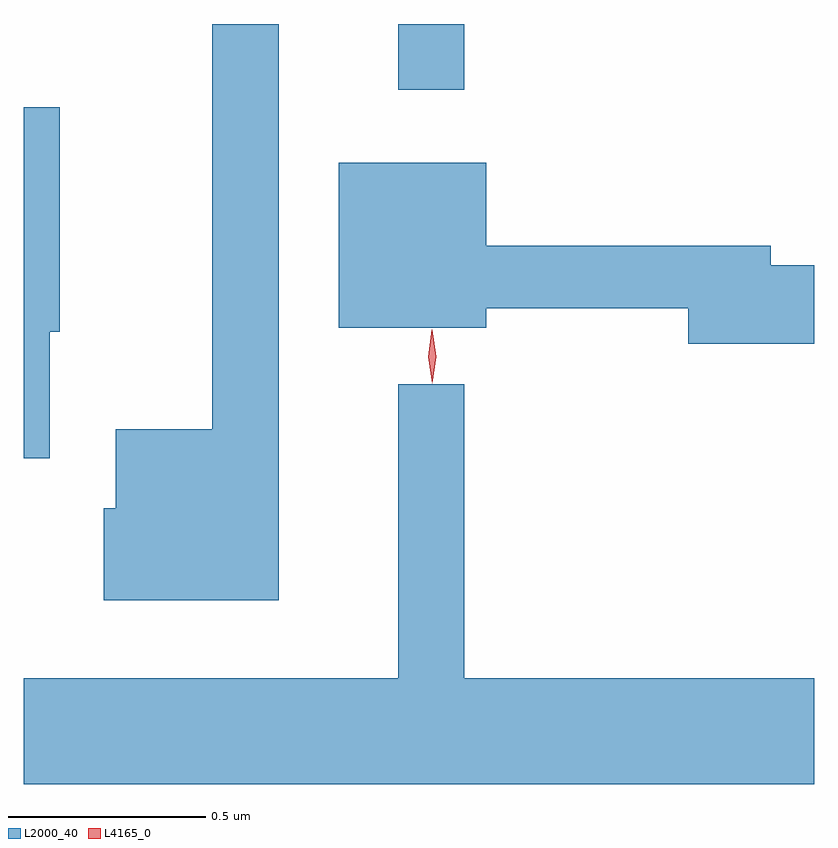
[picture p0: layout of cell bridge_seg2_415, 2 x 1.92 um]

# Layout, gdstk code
import gdstk
lib = gdstk.Library(unit=1e-6, precision=1e-09)
def R(c, l, rs):  # rectangles x0, y0, x1, y1
    for r in rs: c.add(gdstk.rectangle(r[:2], r[2:], *l))
def P(c, l, *ps):  # polygons
    for p in ps: c.add(gdstk.Polygon(p, *l))
L2000_40 = (2000, 40)
L4165_0 = (4165, 0)

bridge_seg2_415 = lib.new_cell('bridge_seg2_415')
R(bridge_seg2_415, L2000_40, [(656.311,1005.673,656.479,1005.84)])
P(bridge_seg2_415, L2000_40, [(656.009,1005.84),(655.841,1005.84),(655.841,1004.814),(655.596,1004.814),(655.596,1004.614),(655.566,1004.614),(655.566,1004.381),(656.009,1004.381)],
  [(655.429,1005.061),(655.454,1005.061),(655.454,1005.629),(655.364,1005.629),(655.364,1004.741),(655.429,1004.741)],
  [(657.364,1005.229),(657.254,1005.229),(657.254,1005.279),(656.534,1005.279),(656.534,1005.489),(656.161,1005.489),(656.161,1005.071),(656.534,1005.071),(656.534,1005.121),(657.046,1005.121),(657.046,1005.031),(657.364,1005.031)],
  [(657.364,1004.184),(656.479,1004.184),(656.479,1004.928),(656.311,1004.928),(656.311,1004.184),(655.364,1004.184),(655.364,1003.916),(657.364,1003.916)])
P(bridge_seg2_415, L4165_0, [(656.398,1004.93),(656.398,1004.931),(656.388,1004.998),(656.396,1005.066),(656.397,1005.066),(656.398,1005.066),(656.408,1004.998),(656.398,1004.931)])

lib.write_gds('bridge_seg2_415.gds')
